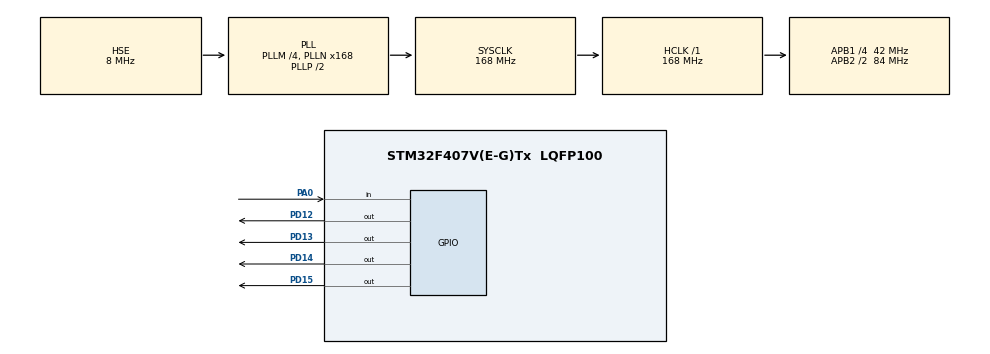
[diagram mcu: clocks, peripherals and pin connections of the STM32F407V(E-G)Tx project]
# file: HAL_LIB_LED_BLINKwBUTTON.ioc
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Mcu.Family=STM32F4
Mcu.Name=STM32F407V(E-G)Tx
Mcu.Package=LQFP100
NVIC.PriorityGroup=NVIC_PRIORITYGROUP_4
PA0-WKUP.GPIO_PuPd=GPIO_PULLDOWN
PA0-WKUP.Signal=GPIO_Input
PA13.Mode=Serial_Wire
PA13.Signal=SYS_JTMS-SWDIO
PA14.Mode=Serial_Wire
PA14.Signal=SYS_JTCK-SWCLK
PD12.GPIO_Speed=GPIO_SPEED_FREQ_VERY_HIGH
PD12.Signal=GPIO_Output
PD13.GPIO_Speed=GPIO_SPEED_FREQ_VERY_HIGH
PD13.Signal=GPIO_Output
PD14.GPIO_Speed=GPIO_SPEED_FREQ_VERY_HIGH
PD14.Signal=GPIO_Output
PD15.GPIO_Speed=GPIO_SPEED_FREQ_VERY_HIGH
PD15.Signal=GPIO_Output
PH0-OSC_IN.Mode=HSE-External-Oscillator
PH0-OSC_IN.Signal=RCC_OSC_IN
PH1-OSC_OUT.Mode=HSE-External-Oscillator
PH1-OSC_OUT.Signal=RCC_OSC_OUT
ProjectManager.HeapSize=0x200
ProjectManager.StackSize=0x400
ProjectManager.TargetToolchain=STM32CubeIDE
RCC.48MHZClocksFreq_Value=84000000
RCC.AHBFreq_Value=168000000
RCC.APB1CLKDivider=RCC_HCLK_DIV4
RCC.APB1Freq_Value=42000000
RCC.APB1TimFreq_Value=84000000
RCC.APB2CLKDivider=RCC_HCLK_DIV2
RCC.APB2Freq_Value=84000000
RCC.APB2TimFreq_Value=168000000
RCC.CortexFreq_Value=168000000
RCC.HCLKFreq_Value=168000000
RCC.HSE_VALUE=8000000
RCC.HSI_VALUE=16000000
RCC.LSE_VALUE=32768
RCC.PLLM=4
RCC.PLLN=168
RCC.PLLSourceVirtual=RCC_PLLSOURCE_HSE
RCC.SYSCLKFreq_VALUE=168000000
RCC.SYSCLKSource=RCC_SYSCLKSOURCE_PLLCLK
RCC.VCOOutputFreq_Value=336000000
board=custom

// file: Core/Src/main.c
/* USER CODE BEGIN Header */
/**
  ******************************************************************************
  * @file           : main.c
  * @brief          : Main program body
  ******************************************************************************
  * @attention
  *
  * <h2><center>&copy; Copyright (c) 2021 STMicroelectronics.
  * All rights reserved.</center></h2>
  *
  * This software component is licensed by ST under BSD 3-Clause license,
  * the "License"; You may not use this file except in compliance with the
  * License. You may obtain a copy of the License at:
  *                        opensource.org/licenses/BSD-3-Clause
  *
  ******************************************************************************
  */
/* USER CODE END Header */
#include "main.h"

/* USER CODE BEGIN PV */
int sayi=0;
/* USER CODE END PV */

void SystemClock_Config(void);
static void MX_GPIO_Init(void);

int main(void)
{

  /* MCU Configuration--------------------------------------------------------*/

  /* Reset of all peripherals, Initializes the Flash interface and the Systick. */
  HAL_Init();

  /* Configure the system clock */
  SystemClock_Config();

  /* Initialize all configured peripherals */
  MX_GPIO_Init();

  /* Infinite loop */
  while (1)
  {

    /* USER CODE BEGIN 3 */
	  if(HAL_GPIO_ReadPin(GPIOA,GPIO_PIN_0)){
		  while(HAL_GPIO_ReadPin(GPIOA, GPIO_PIN_0));
		  HAL_Delay(100);
		  sayi++;

	  }
	  if(sayi%5==0){
		  HAL_GPIO_WritePin(GPIOD, GPIO_PIN_12|GPIO_PIN_13|GPIO_PIN_14|GPIO_PIN_15, GPIO_PIN_RESET);
	  }
	  else if(sayi%5==1){
		  HAL_GPIO_WritePin(GPIOD, GPIO_PIN_12, GPIO_PIN_SET);
		  HAL_GPIO_WritePin(GPIOD, GPIO_PIN_13|GPIO_PIN_14|GPIO_PIN_15, GPIO_PIN_RESET);
	  }
	  else if(sayi%5==2){
		  HAL_GPIO_WritePin(GPIOD, GPIO_PIN_12|GPIO_PIN_13, GPIO_PIN_SET);
		  HAL_GPIO_WritePin(GPIOD, GPIO_PIN_14|GPIO_PIN_15, GPIO_PIN_RESET);
	  }
	  else if(sayi%5==3){
		  HAL_GPIO_WritePin(GPIOD, GPIO_PIN_12|GPIO_PIN_13|GPIO_PIN_14, GPIO_PIN_SET);
		  HAL_GPIO_WritePin(GPIOD, GPIO_PIN_15, GPIO_PIN_RESET);
	  }
	  else if(sayi%5==4){
		  HAL_GPIO_WritePin(GPIOD, GPIO_PIN_12|GPIO_PIN_13|GPIO_PIN_14|GPIO_PIN_15, GPIO_PIN_SET);
	  }

  }
  /* USER CODE END 3 */
}

void SystemClock_Config(void)
{
  RCC_OscInitTypeDef RCC_OscInitStruct = {0};
  RCC_ClkInitTypeDef RCC_ClkInitStruct = {0};

  /** Configure the main internal regulator output voltage
  */
  __HAL_RCC_PWR_CLK_ENABLE();
  __HAL_PWR_VOLTAGESCALING_CONFIG(PWR_REGULATOR_VOLTAGE_SCALE1);
  /** Initializes the RCC Oscillators according to the specified parameters
  * in the RCC_OscInitTypeDef structure.
  */
  RCC_OscInitStruct.OscillatorType = RCC_OSCILLATORTYPE_HSE;
  RCC_OscInitStruct.HSEState = RCC_HSE_ON;
  RCC_OscInitStruct.PLL.PLLState = RCC_PLL_ON;
  RCC_OscInitStruct.PLL.PLLSource = RCC_PLLSOURCE_HSE;
  RCC_OscInitStruct.PLL.PLLM = 4;
  RCC_OscInitStruct.PLL.PLLN = 168;
  RCC_OscInitStruct.PLL.PLLP = RCC_PLLP_DIV2;
  RCC_OscInitStruct.PLL.PLLQ = 4;
  if (HAL_RCC_OscConfig(&RCC_OscInitStruct) != HAL_OK)
  {
    Error_Handler();
  }
  /** Initializes the CPU, AHB and APB buses clocks
  */
  RCC_ClkInitStruct.ClockType = RCC_CLOCKTYPE_HCLK|RCC_CLOCKTYPE_SYSCLK
                              |RCC_CLOCKTYPE_PCLK1|RCC_CLOCKTYPE_PCLK2;
  RCC_ClkInitStruct.SYSCLKSource = RCC_SYSCLKSOURCE_PLLCLK;
  RCC_ClkInitStruct.AHBCLKDivider = RCC_SYSCLK_DIV1;
  RCC_ClkInitStruct.APB1CLKDivider = RCC_HCLK_DIV4;
  RCC_ClkInitStruct.APB2CLKDivider = RCC_HCLK_DIV2;

  if (HAL_RCC_ClockConfig(&RCC_ClkInitStruct, FLASH_LATENCY_5) != HAL_OK)
  {
    Error_Handler();
  }
}

static void MX_GPIO_Init(void)
{
  GPIO_InitTypeDef GPIO_InitStruct = {0};

  /* GPIO Ports Clock Enable */
  __HAL_RCC_GPIOH_CLK_ENABLE();
  __HAL_RCC_GPIOA_CLK_ENABLE();
  __HAL_RCC_GPIOD_CLK_ENABLE();

  /*Configure GPIO pin Output Level */
  HAL_GPIO_WritePin(GPIOD, GPIO_PIN_12|GPIO_PIN_13|GPIO_PIN_14|GPIO_PIN_15, GPIO_PIN_RESET);

  /*Configure GPIO pin : PA0 */
  GPIO_InitStruct.Pin = GPIO_PIN_0;
  GPIO_InitStruct.Mode = GPIO_MODE_INPUT;
  GPIO_InitStruct.Pull = GPIO_PULLDOWN;
  HAL_GPIO_Init(GPIOA, &GPIO_InitStruct);

  /*Configure GPIO pins : PD12 PD13 PD14 PD15 */
  GPIO_InitStruct.Pin = GPIO_PIN_12|GPIO_PIN_13|GPIO_PIN_14|GPIO_PIN_15;
  GPIO_InitStruct.Mode = GPIO_MODE_OUTPUT_PP;
  GPIO_InitStruct.Pull = GPIO_NOPULL;
  GPIO_InitStruct.Speed = GPIO_SPEED_FREQ_VERY_HIGH;
  HAL_GPIO_Init(GPIOD, &GPIO_InitStruct);

}

void Error_Handler(void)
{
  __disable_irq();
  while (1)
  {
  }
}

/************************ (C) COPYRIGHT STMicroelectronics *****END OF FILE****/
